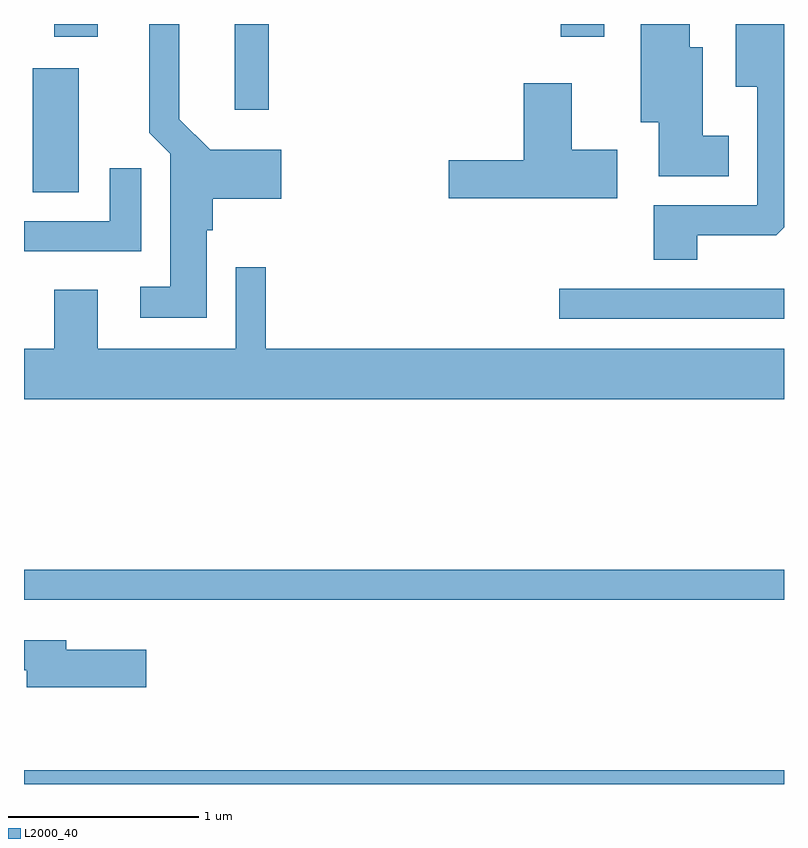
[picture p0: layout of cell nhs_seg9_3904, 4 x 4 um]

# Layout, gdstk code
import gdstk
lib = gdstk.Library(unit=1e-6, precision=1e-09)
def R(c, l, rs):  # rectangles x0, y0, x1, y1
    for r in rs: c.add(gdstk.rectangle(r[:2], r[2:], *l))
def P(c, l, *ps):  # polygons
    for p in ps: c.add(gdstk.Polygon(p, *l))
L2000_40 = (2000, 40)

nhs_seg9_3904 = lib.new_cell('nhs_seg9_3904')
R(nhs_seg9_3904, L2000_40, [(299.611,2016.432,303.611,2016.504), (299.611,2017.401,303.611,2017.559), (302.428,2018.881,303.611,2019.039), (299.656,2019.546,299.899,2020.199), (300.721,2019.981,300.899,2020.432), (299.771,2020.366,299.999,2020.432), (302.436,2020.366,302.664,2020.432)])
P(nhs_seg9_3904, L2000_40, [(303.154,2019.321),(303.569,2019.321),(303.611,2019.363),(303.611,2020.432),(303.356,2020.432),(303.356,2020.101),(303.471,2020.101),(303.471,2019.479),(302.926,2019.479),(302.926,2019.191),(303.154,2019.191)],
  [(300.574,2019.346),(300.604,2019.346),(300.604,2019.511),(300.964,2019.511),(300.964,2019.769),(300.592,2019.769),(300.429,2019.932),(300.429,2020.432),(300.271,2020.432),(300.271,2019.859),(300.381,2019.749),(300.381,2019.049),(300.223,2019.049),(300.223,2018.886),(300.574,2018.886)],
  [(303.319,2019.844),(303.184,2019.844),(303.184,2020.309),(303.114,2020.309),(303.114,2020.432),(302.856,2020.432),(302.856,2019.916),(302.951,2019.916),(302.951,2019.631),(303.319,2019.631)],
  [(302.734,2019.769),(302.494,2019.769),(302.494,2020.119),(302.241,2020.119),(302.241,2019.714),(301.846,2019.714),(301.846,2019.516),(302.734,2019.516)],
  [(300.229,2019.673),(300.061,2019.673),(300.061,2019.394),(299.611,2019.394),(299.611,2019.236),(300.229,2019.236)],
  [(303.611,2018.724),(300.884,2018.724),(300.884,2019.153),(300.726,2019.153),(300.726,2018.724),(299.999,2018.724),(299.999,2019.034),(299.771,2019.034),(299.771,2018.724),(299.611,2018.724),(299.611,2018.456),(303.611,2018.456)],
  [(300.254,2017.139),(299.834,2017.139),(299.834,2017.189),(299.611,2017.189),(299.611,2017.031),(299.626,2017.031),(299.626,2016.941),(300.254,2016.941)])

lib.write_gds('nhs_seg9_3904.gds')
